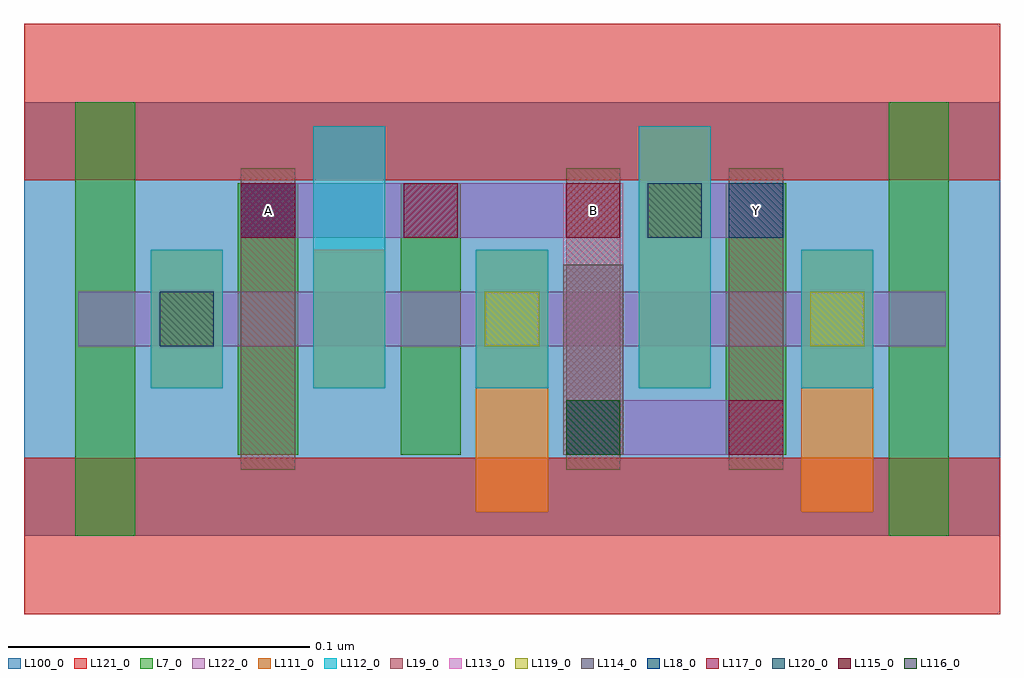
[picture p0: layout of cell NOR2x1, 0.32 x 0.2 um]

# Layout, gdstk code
import gdstk
lib = gdstk.Library(unit=1e-6, precision=2.5e-10)
def R(c, l, rs):  # rectangles x0, y0, x1, y1
    for r in rs: c.add(gdstk.rectangle(r[:2], r[2:], *l))
def A(c, l, x, y, w, h, nx, ny, dx, dy):  # array of equal rectangles
    R(c, l, [(x+i*dx, y+j*dy, x+i*dx+w, y+j*dy+h) for i in range(nx) for j in range(ny)])
L7_0 = (7, 0)
L18_0 = (18, 0)
L19_0 = (19, 0)
L100_0 = (100, 0)
L111_0 = (111, 0)
L112_0 = (112, 0)
L113_0 = (113, 0)
L114_0 = (114, 0)
L115_0 = (115, 0)
L116_0 = (116, 0)
L117_0 = (117, 0)
L119_0 = (119, 0)
L120_0 = (120, 0)
L121_0 = (121, 0)
L122_0 = (122, 0)

nor2x1 = lib.new_cell('NOR2x1')
R(nor2x1, L7_0, [(0.017,0,0.037,0.144), (0.287,0,0.307,0.144), (0.071,0.027,0.091,0.117), (0.125,0.027,0.145,0.117), (0.233,0.027,0.253,0.117)])
R(nor2x1, L18_0, [(0.18,0.027,0.198,0.045), (0.072,0.099,0.09,0.117), (0.234,0.099,0.252,0.117)])
R(nor2x1, L19_0, [(0.072,0.022,0.09,0.122), (0.18,0.022,0.198,0.122), (0.234,0.022,0.252,0.122)])
R(nor2x1, L100_0, [(0,0,0.324,0.144)])
R(nor2x1, L111_0, [(0.15,0.008,0.174,0.095), (0.258,0.008,0.282,0.095), (0.042,0.049,0.066,0.095), (0.096,0.049,0.12,0.095), (0.204,0.049,0.228,0.136)])
A(nor2x1, L112_0, 0.042, 0.049, 0.024, 0.046, 3, 1, 0.108, 0)
R(nor2x1, L112_0, [(0.096,0.049,0.12,0.136), (0.204,0.049,0.228,0.136)])
R(nor2x1, L113_0, [(0.179,0.027,0.199,0.117)])
R(nor2x1, L114_0, [(0.179,0.027,0.199,0.09)])
R(nor2x1, L115_0, [(0.18,0.099,0.198,0.117)])
R(nor2x1, L116_0, [(0.18,0.027,0.198,0.045)])
R(nor2x1, L117_0, [(0.234,0.027,0.252,0.045), (0.072,0.099,0.09,0.117), (0.126,0.099,0.144,0.117)])
A(nor2x1, L119_0, 0.045, 0.063, 0.018, 0.018, 3, 1, 0.108, 0)
R(nor2x1, L119_0, [(0.207,0.099,0.225,0.117)])
R(nor2x1, L120_0, [(0.045,0.063,0.063,0.081), (0.207,0.099,0.225,0.117)])
R(nor2x1, L121_0, [(0,-0.026,0.324,0.026), (0,0.118,0.324,0.17)])
R(nor2x1, L122_0, [(0.18,0.027,0.252,0.045), (0.018,0.063,0.306,0.081), (0.072,0.099,0.198,0.117), (0.207,0.099,0.252,0.117)])
nor2x1.add(gdstk.Label('Y', (0.243,0.108), layer=19, texttype=251))
nor2x1.add(gdstk.Label('B', (0.189,0.108), layer=19, texttype=251))
nor2x1.add(gdstk.Label('A', (0.081,0.108), layer=19, texttype=251))

lib.write_gds('NOR2x1.gds')
